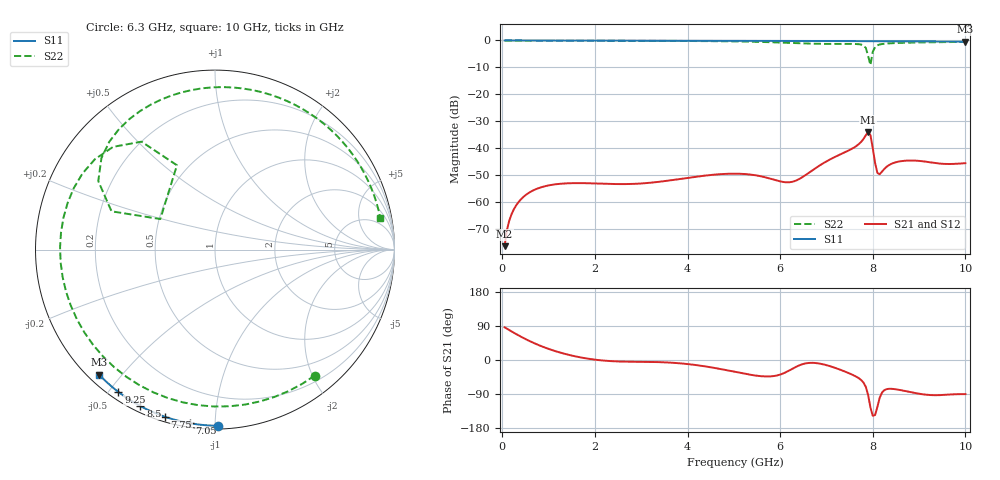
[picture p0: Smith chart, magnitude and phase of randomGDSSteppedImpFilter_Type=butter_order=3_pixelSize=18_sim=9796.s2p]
! freq	dB(S11)	phase(S11)	dB(S12)	phase(S12)
!  dB(S21)	phase(S21)	dB(S22)	phase(S22)
!S-par simulation data
#  GHz  S  DB  R 50
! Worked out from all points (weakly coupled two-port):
!   200 points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, 50 MHz to 10 GHz, reference 50 ohm
!   highest |S21| = -34.02 dB at 7.9 GHz (marker M1); lowest = -76.5 dB at 50 MHz (marker M2)
!   lowest |S11| = -0.4 dB at 10 GHz (marker M3), VSWR 38.73, Z = 1.54 - j21.8 ohm
!   |S11| at or under -10 dB: nowhere
!   |S22| runs from -9.1 to 0.0 dB; largest |S21 - S12| = 0
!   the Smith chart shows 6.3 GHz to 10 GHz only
!   S11 on the Smith chart (normalised r, x): 6.3 GHz: 0.02, -1.02; 7.05 GHz: 0.02, -0.87; 7.75 GHz: 0.02, -0.74; 8.5 GHz: 0.02, -0.63; 9.25 GHz: 0.03, -0.53; 10 GHz: 0.03, -0.44
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0.05  -0.00 -0.8  -76.46 86.2  -76.46 86.2  -0.00 -6.7
0.25  -0.01 -3.8  -62.75 71.8  -62.75 71.8  -0.05 -32.6
0.7  -0.01 -10.7  -55.47 43.7  -55.47 43.7  -0.09 -82.9
1.2  -0.02 -18.2  -53.36 21.4  -53.36 21.4  -0.10 -123.9
1.75  -0.03 -26.4  -53.03 5.5  -53.03 5.5  -0.11 -156.6
2.5  -0.05 -37.5  -53.38 -3.9  -53.38 -3.9  -0.12 168.8
3.4  -0.07 -50.4  -52.50 -5.7  -52.50 -5.7  -0.15 132.0
4.3  -0.09 -62.8  -50.40 -15.4  -50.40 -15.4  -0.22 92.6
5.05  -0.11 -72.9  -49.52 -31.9  -49.52 -31.9  -0.36 51.9
5.75  -0.14 -82.0  -51.18 -43.4  -51.18 -43.4  -0.62 1.0
6.3  -0.16 -88.9  -52.35 -20.8  -52.35 -20.8  -0.96 -51.6
6.7  -0.18 -93.9  -48.22 -7.5  -48.22 -7.5  -1.19 -96.1
7.05  -0.20 -98.2  -44.47 -15.3  -44.47 -15.3  -1.29 -136.3
7.4  -0.22 -102.5  -41.54 -30.5  -41.54 -30.5  -1.28 -175.3
7.75  -0.24 -106.6  -37.67 -52.9  -37.67 -52.9  -1.54 143.1
7.9  -0.26 -108.4  -34.02 -92.4  -34.02 -92.4  -5.75 114.3
7.95  -0.26 -109.0  -35.23 -125.5  -35.23 -125.5  -9.14 150.8
8.1  -0.27 -110.8  -49.25 -123.6  -49.25 -123.6  -1.80 141.1
8.35  -0.29 -113.7  -46.34 -76.0  -46.34 -76.0  -1.08 114.0
8.5  -0.30 -115.5  -45.26 -77.3  -45.26 -77.3  -0.96 101.8
9.25  -0.37 -124.2  -45.31 -92.6  -45.31 -92.6  -0.67 51.8
10  -0.45 -132.8  -45.61 -90.0  -45.61 -90.0  -0.56 10.9
